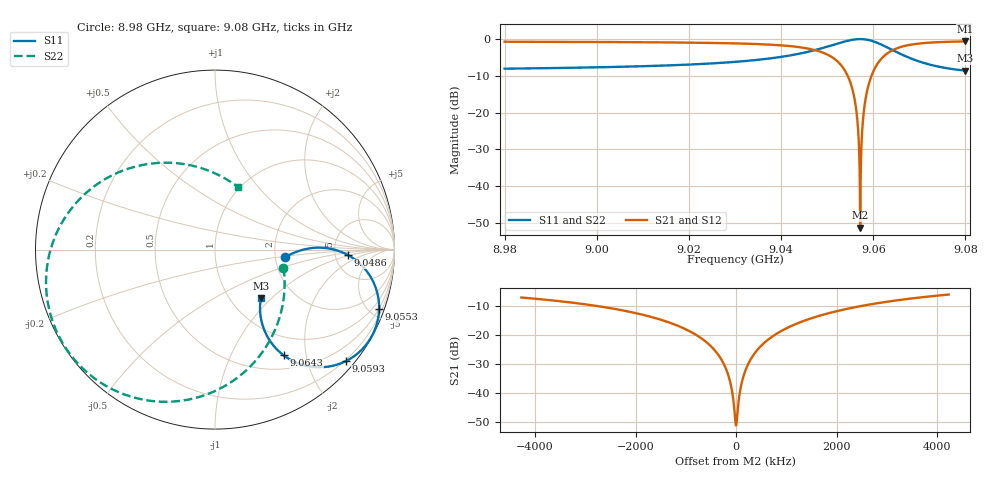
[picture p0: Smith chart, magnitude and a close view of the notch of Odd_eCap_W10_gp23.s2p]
! Sonnet Data File
! From: emgraph Version : 16.52
! From Project: Resonator2_extremeCap2
! Data is De-embedded
! Data File Written: 10/10/2017 08:27:13
!< HDATE 10/10/2017 01:06:54
!< MDATE 10/10/2017 01:06:54
!< PARAMS
!< Pwid1 = 2000.0
!< Pwid2 = 2000.0
!< Air_gap = 6.0
!< Width = 10.0
!< Gap = 23.0
!< END PARAMS
# GHZ S MA R 35.98000
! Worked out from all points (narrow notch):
!   1595 points, 8.98 GHz to 9.08 GHz, reference 35.98 ohm
!   highest |S21| = -0.65 dB at 9.08 GHz (marker M1); lowest = -51.3 dB at 9.0572 GHz (marker M2)
!   notch at M2: 49.3 dB deep, 713 kHz wide at half that depth
!   lowest |S11| = -8.6 dB at 9.08 GHz (marker M3), VSWR 2.18, Z = 49.5 - j31 ohm
!   |S11| at or under -10 dB: nowhere
!   |S22| runs from -8.6 to 0.0 dB; largest |S21 - S12| = 0
!   S11 on the Smith chart (normalised r, x): 8.98 GHz: 2.28, -0.21; 9.0486 GHz: 6.61, -0.90; 9.0553 GHz: 0.47, -5.68; 9.0593 GHz: 0.18, -2.70; 9.0643 GHz: 0.70, -1.62; 9.08 GHz: 1.37, -0.86
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8.98  0.3947 -5.8  0.9188 -100.3  0.9188 -100.3  0.3947 -14.8
!< P1 F=8.98 Eeff=(5.37116343 -2.3769e-5) Z0=(35.9716001 8.05996e-5) R=0.0 C=0.0
!< P2 F=8.98 Eeff=(5.37116343 -2.3769e-5) Z0=(35.9716001 8.05996e-5) R=0.0 C=0.0
8.9967  0.4085 -4.6  0.9127 -101.9  0.9127 -101.9  0.4084 -19.2
9.0134  0.4331 -2.8  0.9013 -104.5  0.9013 -104.5  0.433 -26.3
9.03  0.4888 -0.1  0.8723 -109.9  0.8723 -109.9  0.4886 -39.6
9.0467  0.6901 -0.7  0.723 -127.6  0.723 -127.6  0.6893 -74.6
9.0486  0.7416 -2.4  0.6698 -132.4  0.6698 -132.4  0.7407 -82.6
9.05277  0.8868 -10.4  0.4594 -148.4  0.4594 -148.4  0.8854 -106.8
9.0553  0.972 -19.9  0.2276 -163.3  0.2276 -163.3  0.9703 -127.9
9.056192  0.9905 -24.1  0.1238 -169.1  0.1238 -169.1  0.9886 -136.6
9.0567  0.9963 -26.6  0.06062 -171.7  0.06062 -171.7  0.9944 -141.7
9.05701  0.9979 -28.2  0.02101 -169.2  0.02101 -169.2  0.996 -145.0
9.057094  0.998 -28.7  0.01038 -162.1  0.01038 -162.1  0.9961 -145.8
9.057171  0.9981 -29.1  0.002719 -87.6  0.002719 -87.6  0.9961 -146.7
9.057254  0.998 -29.5  0.01109 -12.8  0.01109 -12.8  0.9961 -147.5
9.057335  0.9978 -29.9  0.02152 -6.5  0.02152 -6.5  0.9959 -148.4
9.057702  0.9956 -31.9  0.06969 -4.4  0.06969 -4.4  0.9936 -152.3
9.058313  0.9867 -35.2  0.15 -8.1  0.15 -8.1  0.9847 -158.9
9.059343  0.9575 -40.5  0.2818 -15.9  0.2818 -15.9  0.9555 -170.1
9.063348  0.7522 -55.3  0.6569 -42.4  0.6569 -42.4  0.7505 150.9
9.064296  0.7025 -57.0  0.7101 -47.1  0.7101 -47.1  0.7009 143.2
9.071  0.4724 -56.8  0.8809 -67.4  0.8809 -67.4  0.4714 102.2
9.08  0.3719 -46.5  0.9281 -78.5  0.9281 -78.5  0.3714 69.7
